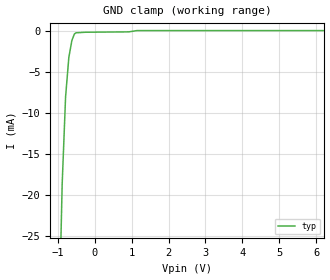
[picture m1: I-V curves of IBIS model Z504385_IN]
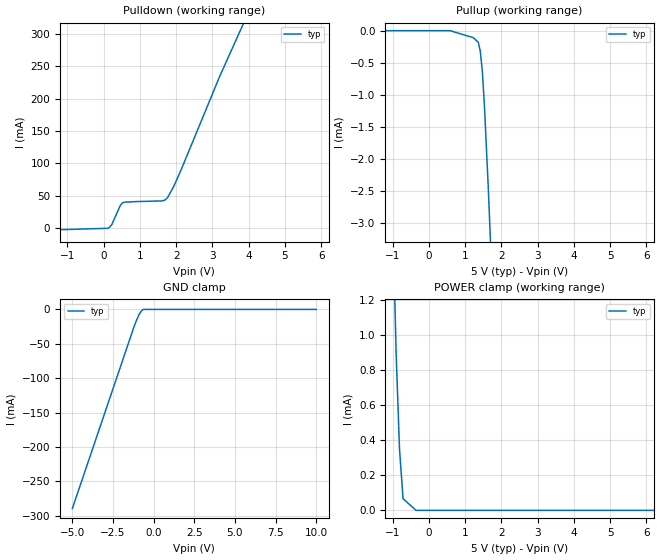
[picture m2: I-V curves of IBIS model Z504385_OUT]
| YOU ARE ONLY AUTHORIZED TO USE THIS SOFTWARE
| ACCORDING TO LICENSOR'S LICENSE RESTRICTIONS.
[IBIS Ver] 3.1
[File Name] sn54ls151j.ibs
[File Rev] 2.0
[Source] Measured and created by ICX Technology
[Date] Friday 7/14/00 9:08:13 AM
[Copyright]
| (C) COPYRIGHT 1993-2000
| MENTOR GRAPHICS CORPORATION
| ICX STANDARD LIBRARY, ICX PROJECT MODELING,
| ICX CUSTOM MODELING, ICX VENDOR MODEL
| ALL RIGHTS RESERVED.
| THE FOLLOWING ARE TRADEMARKS OR SERVICE MARKS OF
| MENTOR GRAPHICS CORPORATION:ICX (R), ICX STANDARD
| LIBRARY(R), ICX PROJECT MODELING(R), ICX CUSTOM
| MODELING(R), qualityIBIS(TM), MODELVIEWER(TM),
| AND MODELEDITOR(TM)
| ALL COPIES OF SOFTWARE, INCLUDING BUT NOT LIMITED TO
| ANY MODIFICATIONS, ENHANCEMENTS OR DERIVATIVE WORKS,
| MUST CONTAIN ALL MENTOR GRAPHICS CORPORATION'S
| NOTICES AND LEGENDS, INCLUDING THOSE EMBEDDED IN
| SOFTWARE AND THOSE AFFIXED TO SOFTWARE MEDIUM
| AND CONTAINER, AS RECEIVED FROM MENTOR GRAPHICS
| CORPORATION.
|  ZAP Model Builder 2.7
[Component] SN54LS151J
[Manufacturer] OnSemiconductor
[Package]
| variable   typ   min   max
R_pkg  .212ohms NA NA
L_pkg  4.758nH NA NA
C_pkg  1.944pF NA NA
[Pin] signal_name  model_name  R_pin  L_pin C_pin
1 D3 Z504385_IN .224 7.258n 2.683p
2 D2 Z504385_IN .216 5.258n 2.19p
3 D1 Z504385_IN .208 3.758n 1.697p
4 D0 Z504385_IN .2 2.758n 1.204p
5 Y Z504385_OUT .2 2.758n 1.204p
6 _Y Z504385_OUT .208 3.758n 1.697p
7 _G Z504385_IN .216 5.258n 2.19p
8 GND GND .224 7.258n 2.683p
9 C Z504385_IN .224 7.258n 2.683p
10 B Z504385_IN .216 5.258n 2.19p
11 A Z504385_IN .208 3.758n 1.697p
12 D7 Z504385_IN .2 2.758n 1.204p
13 D6 Z504385_IN .2 2.758n 1.204p
14 D5 Z504385_IN .208 3.758n 1.697p
15 D4 Z504385_IN .216 5.258n 2.19p
16 VCC POWER .224 7.258n 2.683p
| Models and submodels in the file (2): Z504385_IN (Input), Z504385_OUT (Output)
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| (C) COPYRIGHT 1993-2000
| MENTOR GRAPHICS CORPORATION
| ICX STANDARD LIBRARY, ICX PROJECT MODELING,
| ICX CUSTOM MODELING, ICX VENDOR MODEL
| ALL RIGHTS RESERVED.
| THE FOLLOWING ARE TRADEMARKS OR SERVICE MARKS OF
| MENTOR GRAPHICS CORPORATION:ICX (R), ICX STANDARD
| LIBRARY(R), ICX PROJECT MODELING(R), ICX CUSTOM
| MODELING(R), qualityIBIS(TM), MODELVIEWER(TM),
| AND MODELEDITOR(TM)
| ALL COPIES OF SOFTWARE, INCLUDING BUT NOT LIMITED TO
| ANY MODIFICATIONS, ENHANCEMENTS OR DERIVATIVE WORKS,
| MUST CONTAIN ALL MENTOR GRAPHICS CORPORATION'S
| NOTICES AND LEGENDS, INCLUDING THOSE EMBEDDED IN
| SOFTWARE AND THOSE AFFIXED TO SOFTWARE MEDIUM
| AND CONTAINER, AS RECEIVED FROM MENTOR GRAPHICS
| CORPORATION.
| Model Application Version 1.89 2/18/99.
[Model] Z504385_IN
Model_type Input
Vinl = 800.0mV
Vinh = 2.000V
C_comp 4.000pF NA NA
| variable typ   min   max
[Voltage Range] 5.000V NA NA
[GND Clamp Reference] 0.000V NA NA
[POWER Clamp Reference] 5.000V NA NA
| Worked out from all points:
|   GND clamp passes 1 mA (typ) near -0.60 V on its own axis
[GND Clamp]
-5V       -834.1mA   NA         NA
-878.2mV  -18.73mA   NA         NA
-785.9mV  -8.081mA   NA         NA
-698.1mV  -3.277mA   NA         NA
-615.3mV  -1.198mA   NA         NA
-546.9mV  -419.3uA   NA         NA
-503.1mV  -272.3uA   NA         NA
-251.5mV  -205.7uA   NA         NA
927.6mV   -158.5uA   NA         NA
1.143V    -2.072uA   NA         NA
10V       -2.072uA   NA         NA
[POWER Clamp]
-5V       0A         NA         NA
10V       0A         NA         NA
| (C) COPYRIGHT 1993-2000
| MENTOR GRAPHICS CORPORATION
| ICX STANDARD LIBRARY, ICX PROJECT MODELING,
| ICX CUSTOM MODELING, ICX VENDOR MODEL
| ALL RIGHTS RESERVED.
| THE FOLLOWING ARE TRADEMARKS OR SERVICE MARKS OF
| MENTOR GRAPHICS CORPORATION:ICX (R), ICX STANDARD
| LIBRARY(R), ICX PROJECT MODELING(R), ICX CUSTOM
| MODELING(R), qualityIBIS(TM), MODELVIEWER(TM),
| AND MODELEDITOR(TM)
| ALL COPIES OF SOFTWARE, INCLUDING BUT NOT LIMITED TO
| ANY MODIFICATIONS, ENHANCEMENTS OR DERIVATIVE WORKS,
| MUST CONTAIN ALL MENTOR GRAPHICS CORPORATION'S
| NOTICES AND LEGENDS, INCLUDING THOSE EMBEDDED IN
| SOFTWARE AND THOSE AFFIXED TO SOFTWARE MEDIUM
| AND CONTAINER, AS RECEIVED FROM MENTOR GRAPHICS
| CORPORATION.
| Model Application Version 1.89 2/18/99.
[Model] Z504385_OUT
Model_type Output
Vref=5.000V
Rref=2.000kohms
Cref=15.00pF
Vmeas=1.300V
C_comp 8.000pF NA NA
| variable typ   min   max
[Voltage Range] 5.000V NA NA
[POWER Clamp Reference] 5.000V NA NA
[Pullup Reference] 5.000V NA NA
[Pulldown Reference] 0.000V NA NA
[GND Clamp Reference] 0.000V NA NA
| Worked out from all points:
|   slope of the pulldown table from 0 to 0.75 V, typ, clamps not added: 18.3 ohm
|   slope of the pullup table from 0 to 0.75 V, typ, clamps not added: 26.4 kohm
|   GND clamp passes 1 mA (typ) near -0.69 V on its own axis
|   POWER clamp passes 1 mA (typ) near -0.92 V on its own axis
[GND Clamp]
-5V       -289.7mA   NA         NA
-1.2V     -24.66mA   NA         NA
-1.03V    -14.42mA   NA         NA
-878.4mV  -6.747mA   NA         NA
-747mV    -1.904mA   NA         NA
-622.5mV  0A         NA         NA
10V       0A         NA         NA
[Pulldown]
-5V       -8.827mA   NA         NA
131.8mV   52.23uA    NA         NA
224.3mV   5.153mA    NA         NA
449.3mV   33.8mA     NA         NA
527.4mV   39mA       NA         NA
1.602V    41.86mA    NA         NA
1.679V    42.88mA    NA         NA
1.758V    46.65mA    NA         NA
1.937V    64.83mA    NA         NA
2.148V    91.61mA    NA         NA
3.203V    235.1mA    NA         NA
10V       1.083A     NA         NA
[Pullup]
-5V       12.67uA    NA         NA
584mV     12.67uA    NA         NA
1.221V    -96.36uA   NA         NA
1.361V    -168.3uA   NA         NA
1.416V    -306.1uA   NA         NA
1.474V    -629.2uA   NA         NA
1.531V    -1.164mA   NA         NA
1.636V    -2.431mA   NA         NA
10V       -119.2mA   NA         NA
[POWER Clamp]
-5V       40.75mA    NA         NA
-1.035V   1.97mA     NA         NA
-903mV    889.5uA    NA         NA
-811mV    348.7uA    NA         NA
-713mV    66.77uA    NA         NA
-356.5mV  0A         NA         NA
10V       0A         NA         NA
[Ramp]
| variable typ min max
dV/dt_r 1.791/12.80n NA NA
dV/dt_f 1.791/3.791n NA NA
R_load = 500.0Ohms
